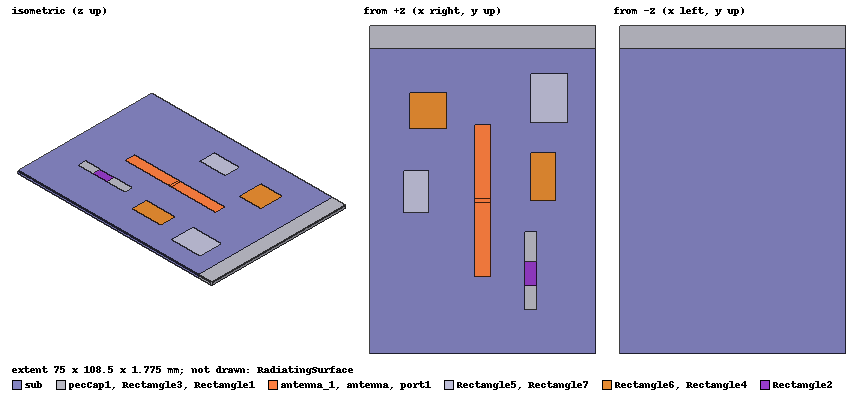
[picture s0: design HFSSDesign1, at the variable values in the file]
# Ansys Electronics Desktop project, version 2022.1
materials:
  vacuum: permittivity=1
  my_mat_ADK: permittivity=2.2 dielectric_loss_tangent=0.0009
  pec: conductivity=1e+30
  copper: permeability=0.999991 conductivity=58000000
  tungsten: conductivity=18200000

design HFSSDesign1 (HFSS, DrivenModal, model units mm)
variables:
  subH = 62mil
  subX = 7.5cm
  subY = 10.1cm
  dipole_length = 5.03cm
  Port_Gap_Width = 0.13cm
  Antenna_Width = 0.5cm
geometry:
  sub [my_mat_ADK] = box(corner=(-subX/2, -subY/2, 0cm), size=(subX, subY, -subH))
  antenna [pec] = rectangle(corner=(-Antenna_Width/2, Port_Gap_Width/2, 0cm), x_size=Antenna_Width, y_size=dipole_length/2-Port_Gap_Width/2)
  antenna_1 [pec] = antenna.duplicate_around_axis(axis=Z, angle=180deg, total=2)
  port1 [pec] = rectangle(corner=(-Antenna_Width/2, -Port_Gap_Width/2, 0cm), x_size=Antenna_Width, y_size=Port_Gap_Width)
  RadiatingSurface [tungsten] = region(absolute_offset=100mm on all sides)
  Rectangle1 [tungsten] = rectangle(corner=(14mm, -36mm, 0mm), x_size=4mm, y_size=8mm)
  Rectangle2 = rectangle(corner=(14mm, -28mm, 0mm), x_size=4mm, y_size=8mm)
  Rectangle3 [tungsten] = rectangle(corner=(14mm, -20mm, 0mm), x_size=4mm, y_size=10mm)
  Rectangle4 = rectangle(corner=(16mm, 0mm, 0mm), x_size=8mm, y_size=16mm)
  Rectangle5 = rectangle(corner=(16mm, 26mm, 0mm), x_size=12mm, y_size=16mm)
  Rectangle6 = rectangle(corner=(-24mm, 24mm, 0mm), x_size=12mm, y_size=12mm)
  Rectangle7 = rectangle(corner=(-26mm, -4mm, 0mm), x_size=8mm, y_size=14mm)
  pecCap1 [pec] = sweep_along_normal(sub.face(+y), length=7.5mm)
  [antenna_1, antenna, Rectangle1, Rectangle3].thicken(0.2mm)
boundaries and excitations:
  perfE_BC: Perfect E Objects=[antenna, antenna_1]
  Radiation_BC: Radiation Objects=RadiatingSurface
  FiniteCond_BC: Finite Conductivity Objects=[Rectangle1, Rectangle3] UseMaterial Material=copper Roughness=20um IsInternal
  LumpRLC_BC: Lumped RLC Objects=Rectangle2 CurrentLine{(16, -28, 0) -> (16, -20, 0)} RLC_Type=Parallel Resistance=50ohm
  Impedance_BC: Impedance Objects=Rectangle4 Resistance=50 Reactance=50
  Anisotropic_Impedance_BC: Anisotropic Impedance Objects=Rectangle5 CoordSystem=Global ZxxResistance=377 ZxxReactance=0 ZxyResistance=0 ZxyReactance=0 ZyxResistance=0 ZyxReactance=0 ZyyResistance=377 ZyyReactance=0
  Layered_Impedance_BC: Layered Impedance Objects=Rectangle6 Frequency=0GHz Layers{Layer1{Thickness=1um Material=copper} Layer2{LayerType=1 Thickness=1um Material=vacuum}}
  PerfH1_BC: Perfect H Objects=Rectangle7
  p1: Lumped Port Objects=port1 Modes{Mode1{IntLine{(0, 0.65, 0) -> (0, -0.65, 0)} CharImp=Zpi RenormImp=50ohm}} Impedance=50ohm
  1: Wave Port Faces=sub.face(+y) NumModes=5 Modes{Mode1{IntLine{(37.5, 50.5, -1.5748) -> (37.5, 50.5, 0)} CharImp=Zpi} Mode2{IntLine{(37.5, 50.5, 0) -> (28, 50.5, 0)} CharImp=Zpi} Mode3{CharImp=Zpi} Mode4{CharImp=Zpi} Mode5{CharImp=Zpi}}
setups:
  Setup1: HfssDriven Frequency=1GHz MaxDeltaS=0.02 MaximumPasses=6 MinimumPasses=1 MinimumConvergedPasses=1 PercentRefinement=30 BasisOrder=1 PortAccuracy=2 DrivenSolverType="Direct Solver"
    sweep Sweep: 0.5GHz to 1.5GHz, 401 points; Type=Interpolating InterpTolerance=0.5 InterpMaxSolns=250 InterpUsePortImped=false PassivityErrorTolerance=0.0001
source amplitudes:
  p1:1: 1W 0deg
  1:1..1:5: 0W 0deg
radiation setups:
  3D: Infinite Sphere Theta=0deg..180deg step 2deg Phi=-180deg..180deg step 2deg
  Elevation: Infinite Sphere Theta=-180deg..180deg step 1deg Phi=0deg..90deg step 90deg
  Azimuth: Infinite Sphere Theta=90deg..90deg step 0deg Phi=-180deg..180deg step 1deg
